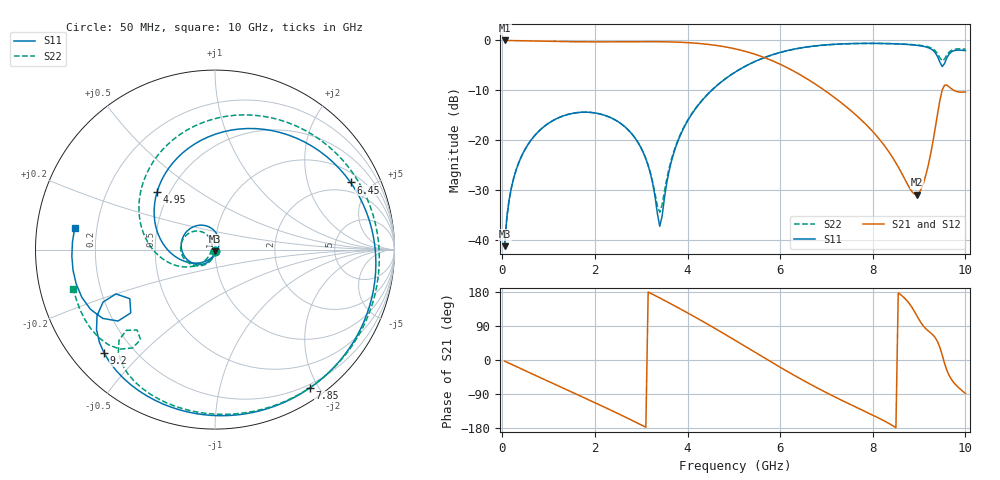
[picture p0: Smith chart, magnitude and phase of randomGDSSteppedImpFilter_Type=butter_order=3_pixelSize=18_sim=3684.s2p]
! freq	dB(S11)	phase(S11)	dB(S12)	phase(S12)
!  dB(S21)	phase(S21)	dB(S22)	phase(S22)
!S-par simulation data
#  GHz  S  DB  R 50
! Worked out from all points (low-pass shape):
!   200 points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, 50 MHz to 10 GHz, reference 50 ohm
!   highest |S21| = -0.01 dB at 50 MHz (marker M1); lowest = -30.8 dB at 8.95 GHz (marker M2)
!   |S21| within 3 dB of the highest: start of sweep to 5.533 GHz
!   lowest |S11| = -41.2 dB at 50 MHz (marker M3), VSWR 1.02, Z = 50 - j0.874 ohm
!   |S11| at or under -10 dB: start of sweep to 4.521 GHz
!   |S22| runs from -41.1 to -0.6 dB; largest |S21 - S12| = 0
!   S11 on the Smith chart (normalised r, x): 50 MHz: 1.00, -0.02; 4.95 GHz: 0.43, +0.35; 6.45 GHz: 1.45, +3.74; 7.85 GHz: 0.15, -1.88; 9.2 GHz: 0.10, -0.39; 10 GHz: 0.12, +0.07
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0.05  -41.16 -91.8  -0.01 -2.9  -0.01 -2.9  -41.13 -90.9
0.2  -29.31 -101.7  -0.02 -11.5  -0.02 -11.5  -29.30 -100.6
0.5  -21.65 -120.3  -0.07 -28.5  -0.07 -28.5  -21.65 -117.4
1.75  -14.35 164.9  -0.28 -98.6  -0.28 -98.6  -14.35 176.5
2.9  -19.97 89.9  -0.25 -165.2  -0.25 -165.2  -19.98 120.0
3.2  -26.67 60.9  -0.25 176.4  -0.25 176.4  -26.55 115.8
3.4  -37.18 -21.1  -0.26 163.8  -0.26 163.8  -34.37 171.4
3.9  -17.86 -143.8  -0.39 131.2  -0.39 131.2  -17.70 -138.8
4.45  -10.64 173.0  -0.80 93.4  -0.80 93.4  -10.59 -169.9
4.95  -6.82 134.9  -1.53 57.6  -1.53 57.6  -6.80 156.9
5.05  -6.22 127.3  -1.73 50.3  -1.73 50.3  -6.21 150.0
5.75  -3.12 75.1  -3.76 -1.1  -3.76 -1.1  -3.14 99.7
6.45  -1.48 26.4  -6.96 -50.5  -6.96 -50.5  -1.51 49.5
6.7  -1.15 10.3  -8.38 -67.2  -8.38 -67.2  -1.18 32.4
7.25  -0.73 -22.6  -11.96 -101.6  -11.96 -101.6  -0.75 -3.4
7.85  -0.59 -55.7  -16.79 -136.8  -16.79 -136.8  -0.60 -39.5
8.35  -0.64 -82.6  -22.31 -167.5  -22.31 -167.5  -0.63 -68.3
8.95  -0.98 -118.3  -30.85 117.2  -30.85 117.2  -0.91 -104.0
9.2  -1.46 -137.0  -24.89 76.6  -24.89 76.6  -1.30 -121.3
9.45  -4.37 -155.9  -11.95 32.9  -11.95 32.9  -3.49 -137.7
9.55  -4.62 -143.1  -8.96 -8.9  -8.96 -8.9  -3.73 -129.6
10  -2.04 171.4  -10.30 -88.4  -10.30 -88.4  -1.74 -164.6
